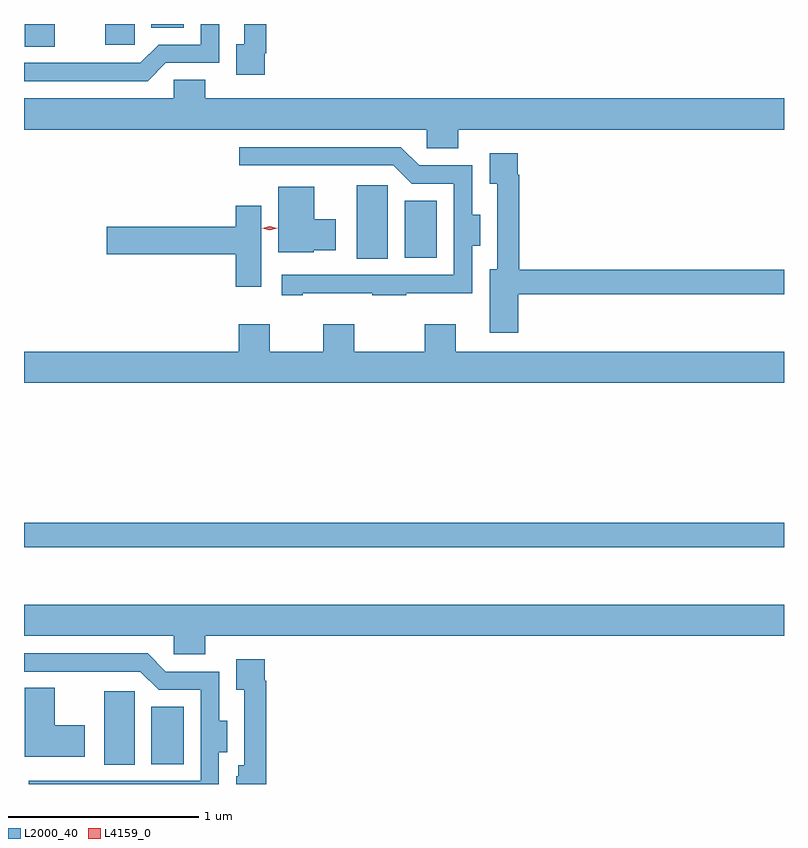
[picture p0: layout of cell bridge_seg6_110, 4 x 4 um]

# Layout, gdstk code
import gdstk
lib = gdstk.Library(unit=1e-6, precision=1e-09)
def R(c, l, rs):  # rectangles x0, y0, x1, y1
    for r in rs: c.add(gdstk.rectangle(r[:2], r[2:], *l))
def P(c, l, *ps):  # polygons
    for p in ps: c.add(gdstk.Polygon(p, *l))
L2000_40 = (2000, 40)
L4159_0 = (4159, 0)

bridge_seg6_110 = lib.new_cell('bridge_seg6_110')
R(bridge_seg6_110, L2000_40, [(459.029,978.625,459.19,979.012), (459.278,978.629,459.448,978.931), (458.607,979.77,462.607,979.898), (460.358,981.289,460.522,981.676), (460.61,981.293,460.78,981.595), (458.612,982.405,458.77,982.524), (459.035,982.415,459.19,982.524), (459.278,982.505,459.448,982.524)])
P(bridge_seg6_110, L2000_40, [(459.354,982.32),(459.634,982.32),(459.634,982.524),(459.537,982.524),(459.537,982.416),(459.315,982.416),(459.219,982.32),(458.607,982.32),(458.607,982.224),(459.258,982.224)],
  [(459.874,982.369),(459.881,982.369),(459.881,982.524),(459.765,982.524),(459.765,982.417),(459.725,982.417),(459.725,982.257),(459.874,982.257)],
  [(460.892,981.968),(462.607,981.968),(462.607,982.132),(459.56,982.132),(459.56,982.23),(459.396,982.23),(459.396,982.132),(458.607,982.132),(458.607,981.968),(460.728,981.968),(460.728,981.87),(460.892,981.87)],
  [(460.075,981.107),(460.441,981.107),(460.441,981.096),(460.619,981.096),(460.619,981.107),(460.965,981.107),(460.965,981.356),(461.008,981.356),(461.008,981.52),(460.966,981.52),(460.966,981.78),(460.686,981.78),(460.59,981.876),(459.741,981.876),(459.741,981.78),(460.551,981.78),(460.647,981.684),(460.869,981.684),(460.869,981.204),(459.963,981.204),(459.963,981.096),(460.075,981.096)],
  [(461.207,981.102),(462.607,981.102),(462.607,981.23),(461.213,981.23),(461.213,981.731),(461.206,981.731),(461.206,981.844),(461.057,981.844),(461.057,981.683),(461.097,981.683),(461.097,981.232),(461.057,981.232),(461.057,980.898),(461.207,980.898)],
  [(460.131,981.332),(460.249,981.332),(460.249,981.496),(460.135,981.496),(460.135,981.667),(459.944,981.667),(459.944,981.323),(460.131,981.323)],
  [(459.856,981.568),(459.721,981.568),(459.721,981.458),(459.042,981.458),(459.042,981.311),(459.721,981.311),(459.721,981.141),(459.856,981.141)],
  [(462.607,980.8),(460.879,980.8),(460.879,980.944),(460.715,980.944),(460.715,980.8),(460.345,980.8),(460.345,980.944),(460.181,980.944),(460.181,980.8),(459.901,980.8),(459.901,980.944),(459.737,980.944),(459.737,980.8),(458.607,980.8),(458.607,980.636),(462.607,980.636)],
  [(459.56,979.304),(462.607,979.304),(462.607,979.468),(458.607,979.468),(458.607,979.304),(459.396,979.304),(459.396,979.206),(459.56,979.206)],
  [(459.633,978.692),(459.676,978.692),(459.676,978.856),(459.634,978.856),(459.634,979.116),(459.354,979.116),(459.258,979.212),(458.607,979.212),(458.607,979.116),(459.219,979.116),(459.315,979.02),(459.537,979.02),(459.537,978.54),(458.631,978.54),(458.631,978.524),(459.633,978.524)],
  [(459.881,979.067),(459.874,979.067),(459.874,979.18),(459.725,979.18),(459.725,979.019),(459.765,979.019),(459.765,978.622),(459.734,978.622),(459.734,978.564),(459.725,978.564),(459.725,978.524),(459.881,978.524)],
  [(458.926,978.832),(458.77,978.832),(458.77,979.031),(458.612,979.031),(458.612,978.668),(458.926,978.668)])
P(bridge_seg6_110, L4159_0, [(459.9,981.439),(459.86,981.449),(459.86,981.449),(459.86,981.449),(459.9,981.459),(459.939,981.449),(459.939,981.448),(459.939,981.448)])

lib.write_gds('bridge_seg6_110.gds')
